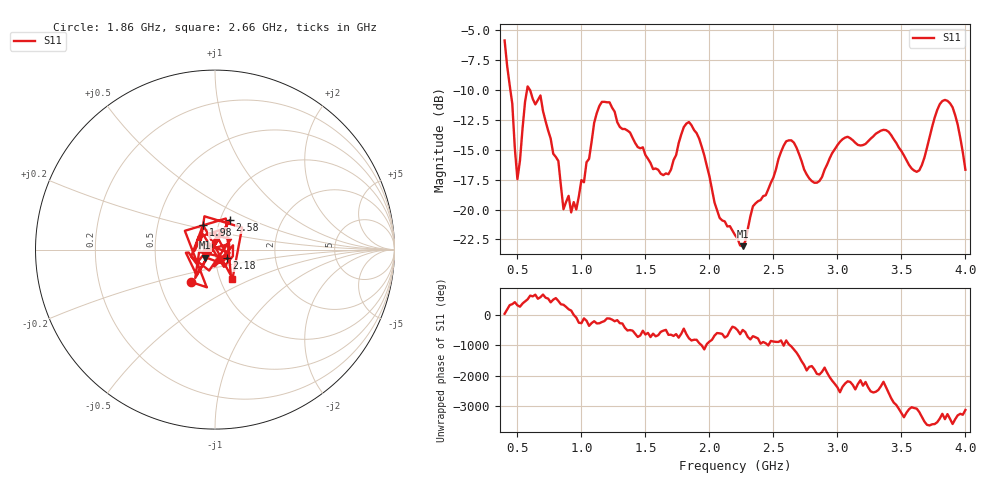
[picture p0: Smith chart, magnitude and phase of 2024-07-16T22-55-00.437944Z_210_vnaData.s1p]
!Created with skrf (http://scikit-rf.org).
# Hz S RI R 50.0
!freq ReS11 ImS11
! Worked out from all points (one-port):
!   181 points, 400 MHz to 4 GHz, reference 50 ohm
!   lowest |S11| = -23.1 dB at 2.26 GHz (marker M1), VSWR 1.15, Z = 44.7 - j4 ohm
!   |S11| at or under -10 dB: 444.9 MHz to 575.3 MHz (130.4 MHz wide, 25.6 % of centre); 598.3 MHz to end of sweep
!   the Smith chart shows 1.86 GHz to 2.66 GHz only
!   S11 on the Smith chart (normalised r, x): 1.86 GHz: 0.72, -0.27; 1.98 GHz: 0.85, +0.24; 2.18 GHz: 1.14, -0.11; 2.58 GHz: 1.11, +0.38; 2.66 GHz: 1.14, -0.39
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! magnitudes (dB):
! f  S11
! 400 MHz  -5.9
! 460 MHz  -11.2
! 500 MHz  -17.5
! 580 MHz  -9.7
! 680 MHz  -10.5
! 820 MHz  -15.9
! 860 MHz  -20.0
! 960 MHz  -20.0
! 1.16 GHz  -11.0
! 1.3 GHz  -13.1
! 1.64 GHz  -17.1
! 1.76 GHz  -14.4
! 1.86 GHz  -12.9
! 1.98 GHz  -16.4
! 2.08 GHz  -20.7
! 2.18 GHz  -21.8
! 2.2 GHz  -22.1
! 2.26 GHz  -23.1
! 2.58 GHz  -14.7
! 2.66 GHz  -14.4
! 2.84 GHz  -17.8
! 3.1 GHz  -14.0
! 3.38 GHz  -13.4
! 3.56 GHz  -16.3
! 3.64 GHz  -16.7
! 3.84 GHz  -10.8
! 3.92 GHz  -12.1
! 4 GHz  -16.7
